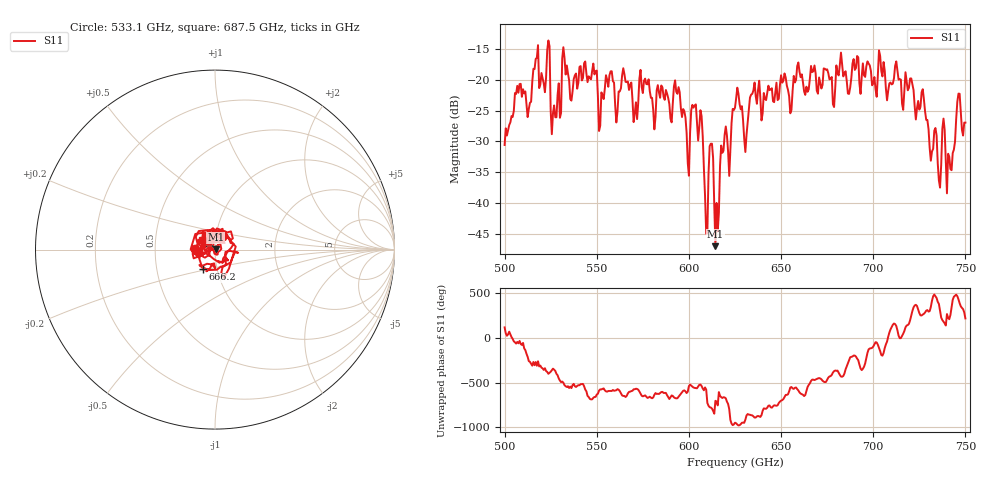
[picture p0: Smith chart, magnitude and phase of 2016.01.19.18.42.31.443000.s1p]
!Created with skrf (http://scikit-rf.org).
# GHz S RI R 50.0
!freq ReS11 ImS11
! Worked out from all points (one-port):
!   401 points, 500 GHz to 750 GHz, reference 50 ohm
!   lowest |S11| = -46.9 dB at 614.4 GHz (marker M1), VSWR 1.01, Z = 50.4 + j0.118 ohm
!   |S11| at or under -10 dB: start of sweep to end of sweep
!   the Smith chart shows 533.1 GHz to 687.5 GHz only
!   S11 on the Smith chart (normalised r, x): 533.1 GHz: 0.80, +0.00; 666.2 GHz: 0.85, -0.19; 687.5 GHz: 0.87, +0.09
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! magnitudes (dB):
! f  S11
! 500 GHz  -30.6
! 507.5 GHz  -22.1
! 513.1 GHz  -24.7
! 516.9 GHz  -16.7
! 523.1 GHz  -15.2
! 526.9 GHz  -24.2
! 531.2 GHz  -16.6
! 533.1 GHz  -19.2
! 562.5 GHz  -21.9
! 593.8 GHz  -22.3
! 599.4 GHz  -33.5
! 602.5 GHz  -24.5
! 606.2 GHz  -24.9
! 609.4 GHz  -44.9
! 611.9 GHz  -30.4
! 614.4 GHz  -46.9
! 625 GHz  -24.5
! 630.6 GHz  -31.7
! 634.4 GHz  -22.3
! 656.2 GHz  -21.8
! 666.2 GHz  -17.8
! 687.5 GHz  -21.3
! 718.8 GHz  -21.7
! 735.6 GHz  -36.3
! 738.1 GHz  -26.3
! 741.2 GHz  -32.5
! 746.2 GHz  -22.3
! 750 GHz  -26.9
